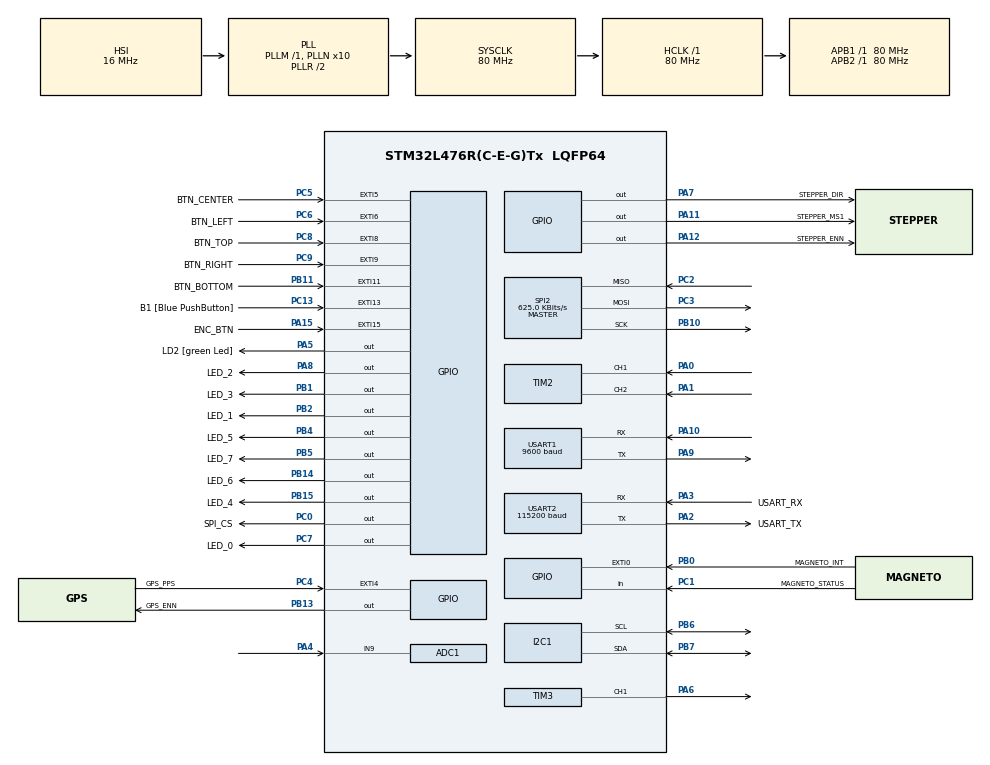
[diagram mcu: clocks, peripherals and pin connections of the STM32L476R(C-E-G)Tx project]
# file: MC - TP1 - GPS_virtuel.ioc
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ADC1.Channel-2\#ChannelRegularConversion=ADC_CHANNEL_9
ADC1.ContinuousConvMode=DISABLE
ADC1.ExternalTrigConv=ADC_EXTERNALTRIG_T4_TRGO
ADC1.NbrOfConversionFlag=1
ADC1.OffsetNumber-2\#ChannelRegularConversion=ADC_OFFSET_NONE
ADC1.Rank-2\#ChannelRegularConversion=1
ADC1.SamplingTime-2\#ChannelRegularConversion=ADC_SAMPLETIME_2CYCLES_5
ADC1.master=1
I2C1.Timing=0x10D19CE4
Mcu.Family=STM32L4
Mcu.Name=STM32L476R(C-E-G)Tx
Mcu.Package=LQFP64
NVIC.ADC1_2_IRQn=true\:0\:0\:false\:false\:true\:true\:true\:true
NVIC.EXTI15_10_IRQn=true\:0\:0\:false\:false\:true\:true\:true\:true
NVIC.PriorityGroup=NVIC_PRIORITYGROUP_4
NVIC.TIM4_IRQn=true\:0\:0\:false\:false\:true\:true\:true\:true
NVIC.TIM6_DAC_IRQn=true\:15\:0\:false\:false\:true\:false\:true\:true
NVIC.TimeBase=TIM6_DAC_IRQn
NVIC.TimeBaseIP=TIM6
PA0.Signal=S_TIM2_CH1
PA1.Signal=S_TIM2_CH2
PA10.Mode=Asynchronous
PA10.Signal=USART1_RX
PA11.GPIO_Label=STEPPER_MS1
PA11.Signal=GPIO_Output
PA12.GPIO_Label=STEPPER_ENN
PA12.PinState=GPIO_PIN_SET
PA12.Signal=GPIO_Output
PA13\ (JTMS-SWDIO).GPIO_Label=TMS
PA13\ (JTMS-SWDIO).Mode=Trace_Asynchronous_SW
PA13\ (JTMS-SWDIO).Signal=SYS_JTMS-SWDIO
PA14\ (JTCK-SWCLK).GPIO_Label=TCK
PA14\ (JTCK-SWCLK).Mode=Trace_Asynchronous_SW
PA14\ (JTCK-SWCLK).Signal=SYS_JTCK-SWCLK
PA15\ (JTDI).GPIO_Label=ENC_BTN
PA15\ (JTDI).Signal=GPXTI15
PA2.GPIO_Label=USART_TX
PA2.GPIO_Mode=GPIO_MODE_AF_PP
PA2.GPIO_PuPd=GPIO_NOPULL
PA2.GPIO_Speed=GPIO_SPEED_FREQ_VERY_HIGH
PA2.Mode=Asynchronous
PA2.Signal=USART2_TX
PA3.GPIO_Label=USART_RX
PA3.GPIO_Mode=GPIO_MODE_AF_PP
PA3.GPIO_PuPd=GPIO_NOPULL
PA3.GPIO_Speed=GPIO_SPEED_FREQ_VERY_HIGH
PA3.Mode=Asynchronous
PA3.Signal=USART2_RX
PA4.Signal=ADCx_IN9
PA5.GPIO_Label=LD2 [green Led]
PA5.GPIO_ModeDefaultOutputPP=GPIO_MODE_OUTPUT_PP
PA5.GPIO_PuPd=GPIO_NOPULL
PA5.GPIO_Speed=GPIO_SPEED_FREQ_LOW
PA5.Signal=GPIO_Output
PA6.Signal=S_TIM3_CH1
PA7.GPIO_Label=STEPPER_DIR
PA7.Signal=GPIO_Output
PA8.GPIO_Label=LED_2
PA8.Signal=GPIO_Output
PA9.Mode=Asynchronous
PA9.Signal=USART1_TX
PB0.GPIO_Label=MAGNETO_INT
PB0.Signal=GPXTI0
PB1.GPIO_Label=LED_3
PB1.Signal=GPIO_Output
PB10.Mode=Full_Duplex_Master
PB10.Signal=SPI2_SCK
PB11.GPIO_Label=BTN_BOTTOM
PB11.Signal=GPXTI11
PB13.GPIO_Label=GPS_ENN
PB13.Signal=GPIO_Output
PB14.GPIO_Label=LED_6
PB14.Signal=GPIO_Output
PB15.GPIO_Label=LED_4
PB15.Signal=GPIO_Output
PB2.GPIO_Label=LED_1
PB2.Signal=GPIO_Output
PB3\ (JTDO-TRACESWO).Mode=Trace_Asynchronous_SW
PB3\ (JTDO-TRACESWO).Signal=SYS_JTDO-SWO
PB4\ (NJTRST).GPIO_Label=LED_5
PB4\ (NJTRST).Signal=GPIO_Output
PB5.GPIO_Label=LED_7
PB5.Signal=GPIO_Output
PB6.Mode=I2C
PB6.Signal=I2C1_SCL
PB7.Mode=I2C
PB7.Signal=I2C1_SDA
PC0.GPIO_Label=SPI_CS
PC0.PinState=GPIO_PIN_SET
PC0.Signal=GPIO_Output
PC1.GPIO_Label=MAGNETO_STATUS
PC1.Signal=GPIO_Input
PC13.GPIO_Label=B1 [Blue PushButton]
PC13.GPIO_ModeDefaultEXTI=GPIO_MODE_IT_FALLING
PC13.GPIO_PuPd=GPIO_NOPULL
PC13.Signal=GPXTI13
PC14-OSC32_IN\ (PC14).Mode=LSE-External-Oscillator
PC14-OSC32_IN\ (PC14).Signal=RCC_OSC32_IN
PC15-OSC32_OUT\ (PC15).Mode=LSE-External-Oscillator
PC15-OSC32_OUT\ (PC15).Signal=RCC_OSC32_OUT
PC2.Mode=Full_Duplex_Master
PC2.Signal=SPI2_MISO
PC3.Mode=Full_Duplex_Master
PC3.Signal=SPI2_MOSI
PC4.GPIO_Label=GPS_PPS
PC4.Signal=GPXTI4
PC5.GPIO_Label=BTN_CENTER
PC5.Signal=GPXTI5
PC6.GPIO_Label=BTN_LEFT
PC6.Signal=GPXTI6
PC7.GPIO_Label=LED_0
PC7.Signal=GPIO_Output
PC8.GPIO_Label=BTN_TOP
PC8.Signal=GPXTI8
PC9.GPIO_Label=BTN_RIGHT
PC9.Signal=GPXTI9
PH0-OSC_IN\ (PH0).Mode=HSE-External-Oscillator
PH0-OSC_IN\ (PH0).Signal=RCC_OSC_IN
PH1-OSC_OUT\ (PH1).Mode=HSE-External-Oscillator
PH1-OSC_OUT\ (PH1).Signal=RCC_OSC_OUT
ProjectManager.HeapSize=0x200
ProjectManager.StackSize=0x400
ProjectManager.TargetToolchain=STM32CubeIDE
RCC.ADCFreq_Value=64000000
RCC.AHBFreq_Value=80000000
RCC.APB1Freq_Value=80000000
RCC.APB1TimFreq_Value=80000000
RCC.APB2Freq_Value=80000000
RCC.APB2TimFreq_Value=80000000
RCC.CortexFreq_Value=80000000
RCC.HCLKFreq_Value=80000000
RCC.HSE_VALUE=8000000
RCC.HSI_VALUE=16000000
RCC.MSI_VALUE=4000000
RCC.PLLN=10
RCC.PLLSourceVirtual=RCC_PLLSOURCE_HSI
RCC.PREFETCH_ENABLE=1
RCC.SYSCLKFreq_VALUE=80000000
RCC.SYSCLKSource=RCC_SYSCLKSOURCE_PLLCLK
RCC.USBFreq_Value=64000000
RCC.VCOOutputFreq_Value=160000000
SH.ADCx_IN9.0=ADC1_IN9,IN9-Single-Ended
SH.S_TIM2_CH1.0=TIM2_CH1,Encoder_Interface
SH.S_TIM2_CH2.0=TIM2_CH2,Encoder_Interface
SH.S_TIM3_CH1.0=TIM3_CH1,PWM Generation1 CH1
SPI2.BaudRatePrescaler=SPI_BAUDRATEPRESCALER_128
SPI2.CalculateBaudRate=625.0 KBits/s
SPI2.DataSize=SPI_DATASIZE_8BIT
SPI2.Direction=SPI_DIRECTION_2LINES
SPI2.Mode=SPI_MODE_MASTER
SPI2.NSSPMode=SPI_NSS_PULSE_DISABLE
SPI2.VirtualType=VM_MASTER
TIM3.Channel-PWM\ Generation1\ CH1=TIM_CHANNEL_1
TIM4.Period=9999
TIM4.Prescaler=79
TIM4.TIM_MasterOutputTrigger=TIM_TRGO_UPDATE
USART1.BaudRate=9600
USART1.VirtualMode-Asynchronous=VM_ASYNC
USART2.BaudRate=115200
USART2.VirtualMode-Asynchronous=VM_ASYNC
VP_SYS_VS_tim6.Mode=TIM6
VP_TIM3_VS_ClockSourceINT.Mode=Internal
VP_TIM4_VS_ClockSourceINT.Mode=Internal
board=NUCLEO-L476RG

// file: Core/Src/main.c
/* USER CODE BEGIN Header */
/**
  ******************************************************************************
  * @file           : main.c
  * @brief          : Main program body
  ******************************************************************************
  * @attention
  *
  * Copyright (c) 2024 STMicroelectronics.
  * All rights reserved.
  *
  * This software is licensed under terms that can be found in the LICENSE file
  * in the root directory of this software component.
  * If no LICENSE file comes with this software, it is provided AS-IS.
  *
  ******************************************************************************
  */
/* USER CODE END Header */
#include "main.h"
#include "adc.h"
#include "i2c.h"
#include "spi.h"
#include "tim.h"
#include "usart.h"
#include "gpio.h"

/* USER CODE BEGIN Includes */
#include <stdio.h>
#include "utils.h"
#include "fonts.h"
#include "ssd1315.h"
/* USER CODE END Includes */

void SystemClock_Config(void);

/* USER CODE BEGIN 0 */
int __io_putchar(int ch)
{
  HAL_UART_Transmit(&huart2, (uint8_t *)&ch, 1, HAL_MAX_DELAY);
  return ch;
}

int __io_getchar(void)
{
  uint8_t ch = 0;
  __HAL_UART_CLEAR_OREFLAG(&huart2);
  HAL_UART_Receive(&huart2, (uint8_t *)&ch, 1, HAL_MAX_DELAY);
  HAL_UART_Transmit(&huart2, (uint8_t *)&ch, 1, HAL_MAX_DELAY);
  return ch;
}
/* USER CODE END 0 */

int main(void)
{

  /* MCU Configuration--------------------------------------------------------*/

  /* Reset of all peripherals, Initializes the Flash interface and the Systick. */
  HAL_Init();

  /* Configure the system clock */
  SystemClock_Config();

  /* Initialize all configured peripherals */
  MX_GPIO_Init();
  MX_USART2_UART_Init();
  MX_I2C1_Init();
  MX_SPI2_Init();
  MX_TIM2_Init();
  MX_TIM3_Init();
  MX_USART1_UART_Init();
  MX_ADC1_Init();
  MX_TIM4_Init();

  /* Infinite loop */
  /* USER CODE BEGIN WHILE */
  ssd1315_Init();
  ssd1315_Clear(SSD1315_COLOR_BLACK);
  char buffer[16] = {0}; // On doit se limiter à 16
  snprintf(buffer,16,"C si dur");
  ssd1315_Draw_String(0,0,buffer,&Font_11x18); //Autres font à voir sur fonts.c
  ssd1315_Refresh();
  while (1)
  {setup();
	  loop();

    /* USER CODE END WHILE */

  }
}

void SystemClock_Config(void)
{
  RCC_OscInitTypeDef RCC_OscInitStruct = {0};
  RCC_ClkInitTypeDef RCC_ClkInitStruct = {0};

  /** Configure the main internal regulator output voltage
  */
  if (HAL_PWREx_ControlVoltageScaling(PWR_REGULATOR_VOLTAGE_SCALE1) != HAL_OK)
  {
    Error_Handler();
  }

  /** Initializes the RCC Oscillators according to the specified parameters
  * in the RCC_OscInitTypeDef structure.
  */
  RCC_OscInitStruct.OscillatorType = RCC_OSCILLATORTYPE_HSI;
  RCC_OscInitStruct.HSIState = RCC_HSI_ON;
  RCC_OscInitStruct.HSICalibrationValue = RCC_HSICALIBRATION_DEFAULT;
  RCC_OscInitStruct.PLL.PLLState = RCC_PLL_ON;
  RCC_OscInitStruct.PLL.PLLSource = RCC_PLLSOURCE_HSI;
  RCC_OscInitStruct.PLL.PLLM = 1;
  RCC_OscInitStruct.PLL.PLLN = 10;
  RCC_OscInitStruct.PLL.PLLP = RCC_PLLP_DIV7;
  RCC_OscInitStruct.PLL.PLLQ = RCC_PLLQ_DIV2;
  RCC_OscInitStruct.PLL.PLLR = RCC_PLLR_DIV2;
  if (HAL_RCC_OscConfig(&RCC_OscInitStruct) != HAL_OK)
  {
    Error_Handler();
  }

  /** Initializes the CPU, AHB and APB buses clocks
  */
  RCC_ClkInitStruct.ClockType = RCC_CLOCKTYPE_HCLK|RCC_CLOCKTYPE_SYSCLK
                              |RCC_CLOCKTYPE_PCLK1|RCC_CLOCKTYPE_PCLK2;
  RCC_ClkInitStruct.SYSCLKSource = RCC_SYSCLKSOURCE_PLLCLK;
  RCC_ClkInitStruct.AHBCLKDivider = RCC_SYSCLK_DIV1;
  RCC_ClkInitStruct.APB1CLKDivider = RCC_HCLK_DIV1;
  RCC_ClkInitStruct.APB2CLKDivider = RCC_HCLK_DIV1;

  if (HAL_RCC_ClockConfig(&RCC_ClkInitStruct, FLASH_LATENCY_4) != HAL_OK)
  {
    Error_Handler();
  }
}

void HAL_TIM_PeriodElapsedCallback(TIM_HandleTypeDef *htim)
{
  if (htim->Instance == TIM6) {
    HAL_IncTick();
  }
}

void Error_Handler(void)
{
  __disable_irq();
  while (1)
  {
  }
}
